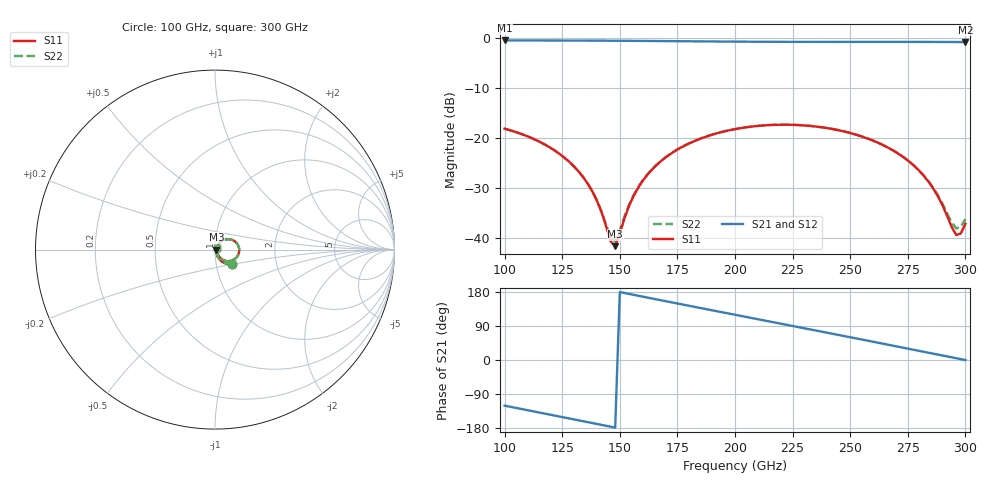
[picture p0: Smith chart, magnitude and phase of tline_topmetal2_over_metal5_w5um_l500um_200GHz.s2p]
#  GHZ S DB R 50
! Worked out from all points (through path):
!   101 points, 100 GHz to 300 GHz, reference 50 ohm
!   highest |S21| = -0.59 dB at 100 GHz (marker M1); lowest = -0.9 dB at 300 GHz (marker M2)
!   group delay of S21, straight-line fit = 3.32 ps
!   lowest |S11| = -41.6 dB at 148 GHz (marker M3), VSWR 1.02, Z = 50.8 + j0.0516 ohm
!   |S11| at or under -10 dB: start of sweep to end of sweep
!   |S22| runs from -40.6 to -17.4 dB; largest |S21 - S12| = 1.6e-13
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100  -18.19 -39.3  -0.59 -120.5  -0.59 -120.5  -18.19 -39.3
120  -22.03 -59.5  -0.60 -144.6  -0.60 -144.6  -22.03 -59.2
128  -24.78 -66.3  -0.61 -154.2  -0.61 -154.2  -24.78 -65.7
134  -27.79 -69.6  -0.61 -161.5  -0.61 -161.5  -27.78 -68.7
140  -32.49 -67.9  -0.63 -168.7  -0.63 -168.7  -32.42 -66.0
146  -40.65 -33.3  -0.64 -176.0  -0.64 -176.0  -39.94 -30.1
148  -41.62 3.5  -0.64 -178.4  -0.64 -178.4  -40.64 3.1
156  -31.60 55.8  -0.67 172.0  -0.67 172.0  -31.43 53.5
162  -27.37 56.1  -0.69 164.7  -0.69 164.7  -27.28 54.4
168  -24.61 52.3  -0.71 157.5  -0.71 157.5  -24.56 50.9
182  -20.74 39.5  -0.76 140.8  -0.76 140.8  -20.71 38.4
200  -18.28 20.7  -0.82 119.4  -0.82 119.4  -18.26 19.8
218  -17.42 1.3  -0.86 98.1  -0.86 98.1  -17.40 0.5
234  -17.71 -16.0  -0.87 79.1  -0.87 79.1  -17.69 -16.7
250  -19.05 -33.0  -0.87 60.0  -0.87 60.0  -19.04 -33.6
268  -22.37 -50.8  -0.87 38.5  -0.87 38.5  -22.35 -51.0
276  -24.90 -57.2  -0.87 28.8  -0.87 28.8  -24.87 -56.9
284  -28.77 -60.1  -0.88 19.2  -0.88 19.2  -28.67 -59.0
288  -31.62 -57.8  -0.89 14.4  -0.89 14.4  -31.43 -55.7
296  -39.39 -11.4  -0.90 4.7  -0.90 4.7  -38.08 -10.3
298  -39.09 15.5  -0.90 2.3  -0.90 2.3  -37.78 12.4
300  -37.17 35.3  -0.91 -0.1  -0.91 -0.1  -36.22 30.1
